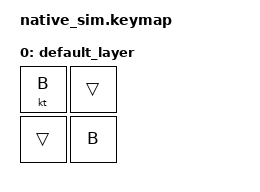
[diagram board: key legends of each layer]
#include "../behavior_keymap.dtsi"

&kt {
    toggle-mode = "off";
};

&matrix {
    events = <
        ZMK_MOCK_PRESS(0,0,10)
        ZMK_MOCK_RELEASE(0,0,10)
        ZMK_MOCK_PRESS(1,1,10)
        ZMK_MOCK_PRESS(0,0,10)
        ZMK_MOCK_RELEASE(1,1,10)
        ZMK_MOCK_RELEASE(0,0,10)
    >;
};

/ {
    keymap {
        compatible = "zmk,keymap";

        default_layer {
            bindings = <
                &kt B  &trans
                &trans &kp B
            >;
        };
    };
};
